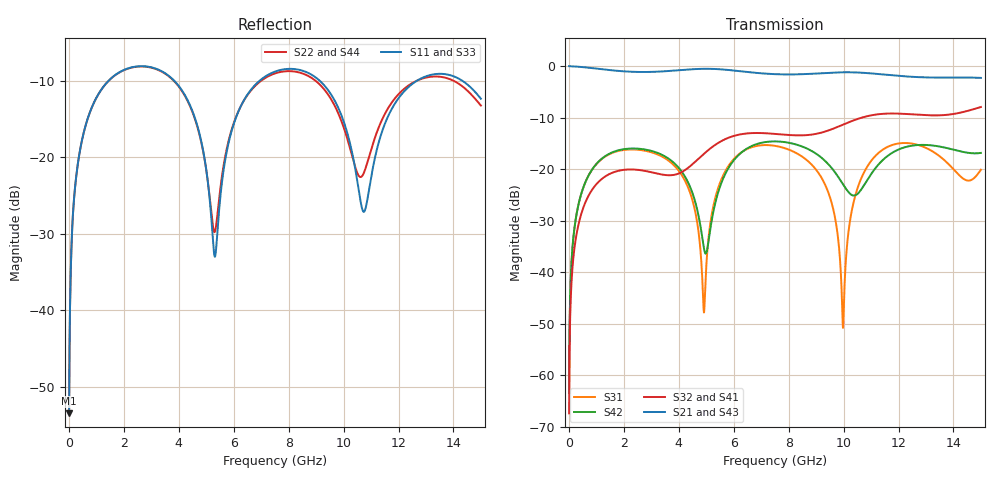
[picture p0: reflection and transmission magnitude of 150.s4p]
! Created with skrf 1.8.0 (http://scikit-rf.org).
# GHz S RI R 50.0
!freq ReS11 ImS11 ReS12 ImS12 ReS13 ImS13
! ReS14 ImS14
! ReS21 ImS21 ReS22 ImS22 ReS23 ImS23
! ReS24 ImS24
! ReS31 ImS31 ReS32 ImS32 ReS33 ImS33
! ReS34 ImS34
! ReS41 ImS41 ReS42 ImS42 ReS43 ImS43
! ReS44 ImS44
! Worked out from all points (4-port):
!   2499 points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, 5 MHz to 15 GHz, reference 50 ohm
!   strongest paths, dB at 5 MHz, 3.476 GHz, 7.19 GHz, 11.1 GHz, 15 GHz:
!     S21: 0.0, -1.0, -1.5, -1.5, -2.3
!     S43: 0.0, -1.0, -1.5, -1.5, -2.3
!     S32: -67.4, -21.1, -13.0, -9.5, -7.9
!     S41: -67.4, -21.2, -13.1, -9.5, -7.9
!     S42: -63.4, -17.5, -14.7, -20.2, -16.8
!     S31: -63.4, -17.8, -15.3, -17.8, -20.1
!   lowest |S11| = -53.5 dB at 5 MHz (marker M1), VSWR 1.00, Z = 50.2 + j0.129 ohm
!   |S11| at or under -10 dB: start of sweep to 1.441 GHz; 3.833 GHz to 6.941 GHz (3.108 GHz wide, 57.7 % of centre); 9.132 GHz to 12.67 GHz (3.539 GHz wide, 32.5 % of centre)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
0.005  0.00169 0.00128  0.9983 -0.00329  8.5e-05 0.00067  -8.26e-05 -0.00042
       0.9983 -0.00329  0.00169 0.00128  -8.26e-05 -0.00042  8.51e-05 0.00067
       8.5e-05 0.00067  -8.26e-05 -0.00042  0.00169 0.00128  0.9983 -0.00329
       -8.26e-05 -0.00042  8.51e-05 0.00067  0.9983 -0.00329  0.00169 0.00128
1.519383  0.2742 0.1769  0.5429 -0.7333  0.1264 0.0641  -0.0907 -0.00523
          0.5429 -0.7333  0.2724 0.178  -0.0908 -0.00508  0.1315 0.0571
          0.1264 0.0641  -0.0908 -0.00508  0.2741 0.1769  0.5429 -0.7333
          -0.0907 -0.00523  0.1315 0.0571  0.5429 -0.7333  0.2725 0.178
4.914548  0.0435 -0.0941  -0.8943 -0.2934  0.00405 0.000419  -0.0406 0.135
          -0.8943 -0.2934  0.0524 -0.0878  -0.0383 0.1357  -0.015 -0.00836
          0.00405 0.000419  -0.0383 0.1357  0.0451 -0.094  -0.8943 -0.2933
          -0.0406 0.135  -0.015 -0.00836  -0.8943 -0.2933  0.051 -0.0886
8.203418  0.3756 -0.0352  -0.01 0.8306  0.1346 -0.0583  0.204 -0.057
          -0.01 0.8306  0.3627 -0.0241  0.2039 -0.0624  0.1351 -0.1121
          0.1346 -0.0583  0.2039 -0.0624  0.3759 -0.0354  -0.00944 0.8302
          0.204 -0.057  0.1351 -0.1121  -0.00944 0.8302  0.3644 -0.0249
9.979158  0.106 -0.1409  0.7337 0.4691  -0.00286 -0.000412  0.1431 -0.2295
          0.7337 0.4691  0.1195 -0.1084  0.1354 -0.2341  -0.0555 -0.0449
          -0.00286 -0.000412  0.1354 -0.2341  0.1102 -0.1404  0.7338 0.4684
          0.1431 -0.2295  -0.0555 -0.0449  0.7338 0.4684  0.1163 -0.112
11.22343  0.0767 0.0851  0.8234 -0.1622  0.0952 0.1025  -0.0837 -0.33
          0.8234 -0.1622  0.1149 0.0927  -0.0942 -0.3267  0.0514 0.0942
          0.0952 0.1025  -0.0942 -0.3267  0.0822 0.0815  0.8232 -0.1636
          -0.0837 -0.33  0.0514 0.0942  0.8232 -0.1636  0.1092 0.0947
15  0.2169 -0.1059  -0.5291 -0.5572  -0.0957 0.024  -0.3076 0.2589
    -0.5291 -0.5572  0.2052 -0.0726  -0.2951 0.2715  -0.1395 -0.0351
    -0.0957 0.024  -0.2951 0.2715  0.2193 -0.111  -0.5306 -0.5548
    -0.3076 0.2589  -0.1395 -0.0351  -0.5306 -0.5548  0.2047 -0.0735
